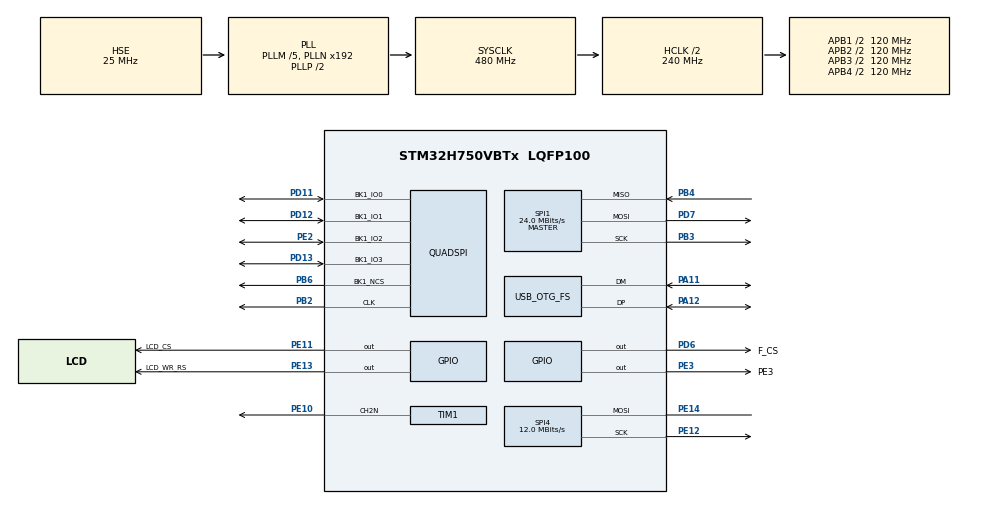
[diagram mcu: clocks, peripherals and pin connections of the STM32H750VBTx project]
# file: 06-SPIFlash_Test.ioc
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Mcu.Family=STM32H7
Mcu.Name=STM32H750VBTx
Mcu.Package=LQFP100
NVIC.OTG_FS_IRQn=true\:1\:0\:true\:false\:true\:false\:true\:true
NVIC.PriorityGroup=NVIC_PRIORITYGROUP_4
PA11.Mode=Device_Only
PA11.Signal=USB_OTG_FS_DM
PA12.Mode=Device_Only
PA12.Signal=USB_OTG_FS_DP
PA13\ (JTMS/SWDIO).Mode=Serial_Wire
PA13\ (JTMS/SWDIO).Signal=DEBUG_JTMS-SWDIO
PA14\ (JTCK/SWCLK).Mode=Serial_Wire
PA14\ (JTCK/SWCLK).Signal=DEBUG_JTCK-SWCLK
PB2.GPIO_Speed=GPIO_SPEED_FREQ_VERY_HIGH
PB2.Mode=Single Bank 1
PB2.Signal=QUADSPI_CLK
PB3\ (JTDO/TRACESWO).GPIO_Speed=GPIO_SPEED_FREQ_MEDIUM
PB3\ (JTDO/TRACESWO).Mode=Full_Duplex_Master
PB3\ (JTDO/TRACESWO).Signal=SPI1_SCK
PB4\ (NJTRST).GPIO_Speed=GPIO_SPEED_FREQ_MEDIUM
PB4\ (NJTRST).Mode=Full_Duplex_Master
PB4\ (NJTRST).Signal=SPI1_MISO
PB6.GPIO_FM6=SYSCFG_PMCR_I2C_PB6_FMP
PB6.GPIO_Speed=GPIO_SPEED_FREQ_VERY_HIGH
PB6.Mode=Single Bank 1
PB6.Signal=QUADSPI_BK1_NCS
PC14-OSC32_IN\ (OSC32_IN).Mode=LSE-External-Oscillator
PC14-OSC32_IN\ (OSC32_IN).Signal=RCC_OSC32_IN
PC15-OSC32_OUT\ (OSC32_OUT).Mode=LSE-External-Oscillator
PC15-OSC32_OUT\ (OSC32_OUT).Signal=RCC_OSC32_OUT
PD11.GPIO_Speed=GPIO_SPEED_FREQ_VERY_HIGH
PD11.Mode=Single Bank 1
PD11.Signal=QUADSPI_BK1_IO0
PD12.GPIO_Speed=GPIO_SPEED_FREQ_VERY_HIGH
PD12.Mode=Single Bank 1
PD12.Signal=QUADSPI_BK1_IO1
PD13.GPIO_Speed=GPIO_SPEED_FREQ_VERY_HIGH
PD13.Mode=Single Bank 1
PD13.Signal=QUADSPI_BK1_IO3
PD6.GPIO_Label=F_CS
PD6.GPIO_Speed=GPIO_SPEED_FREQ_VERY_HIGH
PD6.PinState=GPIO_PIN_SET
PD6.Signal=GPIO_Output
PD7.GPIO_Speed=GPIO_SPEED_FREQ_MEDIUM
PD7.Mode=Full_Duplex_Master
PD7.Signal=SPI1_MOSI
PE10.Mode=PWM Generation2 CH2N
PE10.Signal=TIM1_CH2N
PE11.GPIO_Label=LCD_CS
PE11.GPIO_Speed=GPIO_SPEED_FREQ_VERY_HIGH
PE11.PinState=GPIO_PIN_SET
PE11.Signal=GPIO_Output
PE12.GPIO_Speed=GPIO_SPEED_FREQ_MEDIUM
PE12.Mode=Simplex_Bidirectional_Master
PE12.Signal=SPI4_SCK
PE13.GPIO_Label=LCD_WR_RS
PE13.GPIO_Speed=GPIO_SPEED_FREQ_VERY_HIGH
PE13.PinState=GPIO_PIN_SET
PE13.Signal=GPIO_Output
PE14.GPIO_Speed=GPIO_SPEED_FREQ_MEDIUM
PE14.Mode=Simplex_Bidirectional_Master
PE14.Signal=SPI4_MOSI
PE2.GPIO_Speed=GPIO_SPEED_FREQ_VERY_HIGH
PE2.Mode=Single Bank 1
PE2.Signal=QUADSPI_BK1_IO2
PE3.GPIO_Label=PE3
PE3.PinState=GPIO_PIN_RESET
PE3.Signal=GPIO_Output
PH0-OSC_IN\ (PH0).Mode=HSE-External-Oscillator
PH0-OSC_IN\ (PH0).Signal=RCC_OSC_IN
PH1-OSC_OUT\ (PH1).Mode=HSE-External-Oscillator
PH1-OSC_OUT\ (PH1).Signal=RCC_OSC_OUT
ProjectManager.HeapSize=0x2000
ProjectManager.StackSize=0x2000
ProjectManager.TargetToolchain=STM32CubeIDE
QUADSPI.ChipSelectHighTime=QSPI_CS_HIGH_TIME_3_CYCLE
QUADSPI.ClockMode=QSPI_CLOCK_MODE_3
QUADSPI.ClockPrescaler=2-1
QUADSPI.FlashSize=23-1
QUADSPI.SampleShifting=QSPI_SAMPLE_SHIFTING_HALFCYCLE
RCC.ADCFreq_Value=50390625
RCC.APB1Freq_Value=120000000
RCC.APB2Freq_Value=120000000
RCC.APB3Freq_Value=120000000
RCC.APB4Freq_Value=120000000
RCC.CortexFreq_Value=480000000
RCC.D1PPRE=RCC_APB3_DIV2
RCC.D2PPRE1=RCC_APB1_DIV2
RCC.D2PPRE2=RCC_APB2_DIV2
RCC.D3PPRE=RCC_APB4_DIV2
RCC.DIVM1=5
RCC.DIVM3=10
RCC.DIVN1=192
RCC.DIVN3=96
RCC.DIVP3=5
RCC.DIVQ1=4
RCC.DIVQ3=5
RCC.HCLKFreq_Value=240000000
RCC.HPRE=RCC_HCLK_DIV2
RCC.PLL2FRACN=0
RCC.PLL3FRACN=0
RCC.PLLFRACN=0
RCC.PLLSourceVirtual=RCC_PLLSOURCE_HSE
RCC.SPI123CLockSelection=RCC_SPI123CLKSOURCE_PLL3
RCC.SYSCLKFreq_VALUE=480000000
RCC.SYSCLKSource=RCC_SYSCLKSOURCE_PLLCLK
RCC.Spi45ClockSelection=RCC_SPI45CLKSOURCE_PLL3
RCC.SupplySource=PWR_LDO_SUPPLY
RCC.USBCLockSelection=RCC_USBCLKSOURCE_PLL3
RCC.USBFreq_Value=48000000
SPI1.BaudRatePrescaler=SPI_BAUDRATEPRESCALER_2
SPI1.CLKPolarity=SPI_POLARITY_LOW
SPI1.CalculateBaudRate=24.0 MBits/s
SPI1.DataSize=SPI_DATASIZE_8BIT
SPI1.Direction=SPI_DIRECTION_2LINES
SPI1.Mode=SPI_MODE_MASTER
SPI1.VirtualType=VM_MASTER
SPI4.BaudRatePrescaler=SPI_BAUDRATEPRESCALER_4
SPI4.CLKPolarity=SPI_POLARITY_LOW
SPI4.CalculateBaudRate=12.0 MBits/s
SPI4.DataSize=SPI_DATASIZE_8BIT
SPI4.Direction=SPI_DIRECTION_1LINE
SPI4.Mode=SPI_MODE_MASTER
SPI4.VirtualType=VM_MASTER
TIM1.Channel-PWM\ Generation2\ CH2N=TIM_CHANNEL_2
TIM1.OCNPolarity_2=TIM_OCNPOLARITY_LOW
TIM1.Period=100-1
TIM1.Prescaler=120-1
USB_DEVICE.CLASS_NAME_FS=MSC
USB_DEVICE.MSC_MEDIA_PACKET-MSC_FS=4096
USB_DEVICE.VirtualMode-MSC_FS=Msc
USB_DEVICE.VirtualModeFS=Msc_FS
USB_OTG_FS.VirtualMode=Device_Only
USB_OTG_FS.dma_enable=ENABLE
VP_MEMORYMAP_VS_MEMORYMAP.Mode=CurAppReg
VP_RTC_VS_RTC_Activate.Mode=RTC_Enabled
VP_USB_DEVICE_VS_USB_DEVICE_MSC_FS.Mode=MSC_FS
board=custom

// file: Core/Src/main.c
/* USER CODE BEGIN Header */
/**
  ******************************************************************************
  * @file           : main.c
  * @brief          : Main program body
  ******************************************************************************
  * @attention
  *
  * <h2><center>&copy; Copyright (c) 2020 STMicroelectronics.
  * All rights reserved.</center></h2>
  *
  * This software component is licensed by ST under Ultimate Liberty license
  * SLA0044, the "License"; You may not use this file except in compliance with
  * the License. You may obtain a copy of the License at:
  *                             www.st.com/SLA0044
  *
  ******************************************************************************
  */
/* USER CODE END Header */
#include "main.h"
#include "memorymap.h"
#include "rtc.h"
#include "spi.h"
#include "tim.h"
#include "usb_device.h"
#include "gpio.h"

/* USER CODE BEGIN Includes */
#include "lcd.h"
#include "w25qxx.h"
/* USER CODE END Includes */

void SystemClock_Config(void);
void PeriphCommonClock_Config(void);

/* USER CODE BEGIN 0 */
static void MPU_Config(void)
{
  MPU_Region_InitTypeDef MPU_InitStruct = {0};

  /* Disables the MPU */
  HAL_MPU_Disable();

	/* Configure the MPU attributes for the QSPI 256MB without instruction access */
  MPU_InitStruct.Enable           = MPU_REGION_ENABLE;
  MPU_InitStruct.Number           = MPU_REGION_NUMBER0;
  MPU_InitStruct.BaseAddress      = QSPI_BASE;
  MPU_InitStruct.Size             = MPU_REGION_SIZE_256MB;
  MPU_InitStruct.AccessPermission = MPU_REGION_NO_ACCESS;
  MPU_InitStruct.IsBufferable     = MPU_ACCESS_NOT_BUFFERABLE;
  MPU_InitStruct.IsCacheable      = MPU_ACCESS_NOT_CACHEABLE;
  MPU_InitStruct.IsShareable      = MPU_ACCESS_NOT_SHAREABLE;
  MPU_InitStruct.DisableExec      = MPU_INSTRUCTION_ACCESS_DISABLE;
  MPU_InitStruct.TypeExtField     = MPU_TEX_LEVEL1;
  MPU_InitStruct.SubRegionDisable = 0x00;
  HAL_MPU_ConfigRegion(&MPU_InitStruct);

  /* Configure the MPU attributes for the QSPI 8MB (QSPI Flash Size) to Cacheable WT */
  MPU_InitStruct.Enable           = MPU_REGION_ENABLE;
  MPU_InitStruct.Number           = MPU_REGION_NUMBER1;
  MPU_InitStruct.BaseAddress      = QSPI_BASE;
  MPU_InitStruct.Size             = MPU_REGION_SIZE_8MB;
  MPU_InitStruct.AccessPermission = MPU_REGION_PRIV_RO;
  MPU_InitStruct.IsBufferable     = MPU_ACCESS_BUFFERABLE;
  MPU_InitStruct.IsCacheable      = MPU_ACCESS_CACHEABLE;
  MPU_InitStruct.IsShareable      = MPU_ACCESS_NOT_SHAREABLE;
  MPU_InitStruct.DisableExec      = MPU_INSTRUCTION_ACCESS_ENABLE;
  MPU_InitStruct.TypeExtField     = MPU_TEX_LEVEL1;
  MPU_InitStruct.SubRegionDisable = 0x00;
  HAL_MPU_ConfigRegion(&MPU_InitStruct);

	/* Setup AXI SRAM in Cacheable WB */
  MPU_InitStruct.Enable           = MPU_REGION_ENABLE;
  MPU_InitStruct.BaseAddress      = D1_AXISRAM_BASE;
  MPU_InitStruct.Size             = MPU_REGION_SIZE_512KB;
  MPU_InitStruct.AccessPermission = MPU_REGION_FULL_ACCESS;
  MPU_InitStruct.IsBufferable     = MPU_ACCESS_BUFFERABLE;
  MPU_InitStruct.IsCacheable      = MPU_ACCESS_CACHEABLE;
  MPU_InitStruct.IsShareable      = MPU_ACCESS_SHAREABLE;
  MPU_InitStruct.Number           = MPU_REGION_NUMBER2;
  MPU_InitStruct.TypeExtField     = MPU_TEX_LEVEL1;
  MPU_InitStruct.SubRegionDisable = 0x00;
  MPU_InitStruct.DisableExec      = MPU_INSTRUCTION_ACCESS_ENABLE;
  HAL_MPU_ConfigRegion(&MPU_InitStruct);

  /* Enables the MPU */
  HAL_MPU_Enable(MPU_PRIVILEGED_DEFAULT);
}

static void CPU_CACHE_Enable(void)
{
  /* Enable I-Cache */
  SCB_EnableICache();

  /* Enable D-Cache */
  SCB_EnableDCache();
}

void LED_Blink(uint32_t delay)
{
	HAL_GPIO_WritePin(PE3_GPIO_Port,PE3_Pin,GPIO_PIN_SET);
	HAL_Delay(delay - 1);
	HAL_GPIO_WritePin(PE3_GPIO_Port,PE3_Pin,GPIO_PIN_RESET);
	HAL_Delay(500-1);
}

/* USER CODE END 0 */

int main(void)
{

  /* USER CODE BEGIN 1 */

  MPU_Config();
  CPU_CACHE_Enable();

  /* USER CODE END 1 */

  /* MCU Configuration--------------------------------------------------------*/

  /* Reset of all peripherals, Initializes the Flash interface and the Systick. */
  HAL_Init();

  /* Configure the system clock */
  SystemClock_Config();

  /* Configure the peripherals common clocks */
  PeriphCommonClock_Config();

  /* Initialize all configured peripherals */
  MX_GPIO_Init();
  MX_RTC_Init();
  MX_SPI1_Init();
  MX_SPI4_Init();
  MX_TIM1_Init();
  MX_USB_DEVICE_Init();
  /* USER CODE BEGIN 2 */

  LCD_Test();

  /* USER CODE END 2 */

  /* Infinite loop */
  /* USER CODE BEGIN WHILE */
	uint8_t text[20];
  while (1)
  {
    /* USER CODE END WHILE */

    /* USER CODE BEGIN 3 */

		while(hUsbDeviceFS.dev_state != USBD_STATE_CONFIGURED)
		{
			sprintf((char *)&text,"USB Unconnect %d    ",HAL_GetTick());
		  LCD_ShowString(0,58,ST7735Ctx.Width,16,12,text);
			LED_Blink(5);
		}
		while(1)
		{
			sprintf((char *)&text,"USB Connect %d      ",HAL_GetTick());
		  LCD_ShowString(0,58,ST7735Ctx.Width,16,12,text);
			LED_Blink(5);
		}

  }
  /* USER CODE END 3 */
}

void SystemClock_Config(void)
{
  RCC_OscInitTypeDef RCC_OscInitStruct = {0};
  RCC_ClkInitTypeDef RCC_ClkInitStruct = {0};

  /** Supply configuration update enable
  */
  HAL_PWREx_ConfigSupply(PWR_LDO_SUPPLY);

  /** Configure the main internal regulator output voltage
  */
  __HAL_PWR_VOLTAGESCALING_CONFIG(PWR_REGULATOR_VOLTAGE_SCALE1);

  while(!__HAL_PWR_GET_FLAG(PWR_FLAG_VOSRDY)) {}

  __HAL_RCC_SYSCFG_CLK_ENABLE();
  __HAL_PWR_VOLTAGESCALING_CONFIG(PWR_REGULATOR_VOLTAGE_SCALE0);

  while(!__HAL_PWR_GET_FLAG(PWR_FLAG_VOSRDY)) {}

  /** Initializes the RCC Oscillators according to the specified parameters
  * in the RCC_OscInitTypeDef structure.
  */
  RCC_OscInitStruct.OscillatorType = RCC_OSCILLATORTYPE_LSI|RCC_OSCILLATORTYPE_HSE;
  RCC_OscInitStruct.HSEState = RCC_HSE_ON;
  RCC_OscInitStruct.LSIState = RCC_LSI_ON;
  RCC_OscInitStruct.PLL.PLLState = RCC_PLL_ON;
  RCC_OscInitStruct.PLL.PLLSource = RCC_PLLSOURCE_HSE;
  RCC_OscInitStruct.PLL.PLLM = 5;
  RCC_OscInitStruct.PLL.PLLN = 192;
  RCC_OscInitStruct.PLL.PLLP = 2;
  RCC_OscInitStruct.PLL.PLLQ = 4;
  RCC_OscInitStruct.PLL.PLLR = 2;
  RCC_OscInitStruct.PLL.PLLRGE = RCC_PLL1VCIRANGE_2;
  RCC_OscInitStruct.PLL.PLLVCOSEL = RCC_PLL1VCOWIDE;
  RCC_OscInitStruct.PLL.PLLFRACN = 0;
  if (HAL_RCC_OscConfig(&RCC_OscInitStruct) != HAL_OK)
  {
    Error_Handler();
  }

  /** Initializes the CPU, AHB and APB buses clocks
  */
  RCC_ClkInitStruct.ClockType = RCC_CLOCKTYPE_HCLK|RCC_CLOCKTYPE_SYSCLK
                              |RCC_CLOCKTYPE_PCLK1|RCC_CLOCKTYPE_PCLK2
                              |RCC_CLOCKTYPE_D3PCLK1|RCC_CLOCKTYPE_D1PCLK1;
  RCC_ClkInitStruct.SYSCLKSource = RCC_SYSCLKSOURCE_PLLCLK;
  RCC_ClkInitStruct.SYSCLKDivider = RCC_SYSCLK_DIV1;
  RCC_ClkInitStruct.AHBCLKDivider = RCC_HCLK_DIV2;
  RCC_ClkInitStruct.APB3CLKDivider = RCC_APB3_DIV2;
  RCC_ClkInitStruct.APB1CLKDivider = RCC_APB1_DIV2;
  RCC_ClkInitStruct.APB2CLKDivider = RCC_APB2_DIV2;
  RCC_ClkInitStruct.APB4CLKDivider = RCC_APB4_DIV2;

  if (HAL_RCC_ClockConfig(&RCC_ClkInitStruct, FLASH_LATENCY_4) != HAL_OK)
  {
    Error_Handler();
  }
}

void PeriphCommonClock_Config(void)
{
  RCC_PeriphCLKInitTypeDef PeriphClkInitStruct = {0};

  /** Initializes the peripherals clock
  */
  PeriphClkInitStruct.PeriphClockSelection = RCC_PERIPHCLK_USB|RCC_PERIPHCLK_SPI1
                              |RCC_PERIPHCLK_SPI4;
  PeriphClkInitStruct.PLL3.PLL3M = 10;
  PeriphClkInitStruct.PLL3.PLL3N = 96;
  PeriphClkInitStruct.PLL3.PLL3P = 5;
  PeriphClkInitStruct.PLL3.PLL3Q = 5;
  PeriphClkInitStruct.PLL3.PLL3R = 2;
  PeriphClkInitStruct.PLL3.PLL3RGE = RCC_PLL3VCIRANGE_1;
  PeriphClkInitStruct.PLL3.PLL3VCOSEL = RCC_PLL3VCOWIDE;
  PeriphClkInitStruct.PLL3.PLL3FRACN = 0;
  PeriphClkInitStruct.Spi123ClockSelection = RCC_SPI123CLKSOURCE_PLL3;
  PeriphClkInitStruct.Spi45ClockSelection = RCC_SPI45CLKSOURCE_PLL3;
  PeriphClkInitStruct.UsbClockSelection = RCC_USBCLKSOURCE_PLL3;
  if (HAL_RCCEx_PeriphCLKConfig(&PeriphClkInitStruct) != HAL_OK)
  {
    Error_Handler();
  }
}

void Error_Handler(void)
{
}
